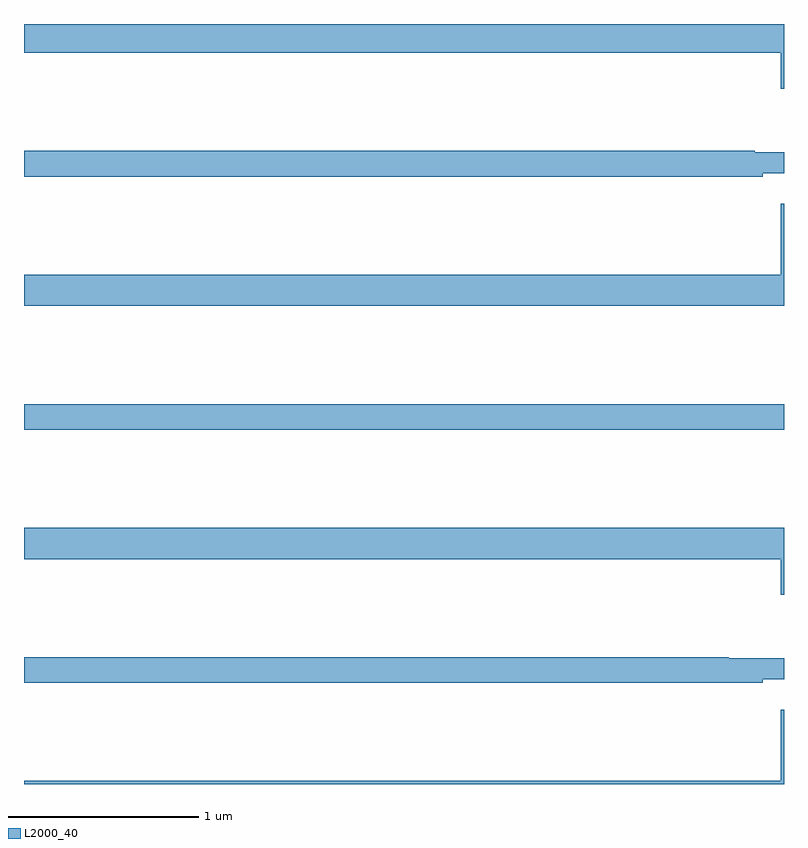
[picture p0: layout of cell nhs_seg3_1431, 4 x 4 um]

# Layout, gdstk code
import gdstk
lib = gdstk.Library(unit=1e-6, precision=1e-09)
def R(c, l, rs):  # rectangles x0, y0, x1, y1
    for r in rs: c.add(gdstk.rectangle(r[:2], r[2:], *l))
def P(c, l, *ps):  # polygons
    for p in ps: c.add(gdstk.Polygon(p, *l))
L2000_40 = (2000, 40)

nhs_seg3_1431 = lib.new_cell('nhs_seg3_1431')
R(nhs_seg3_1431, L2000_40, [(185,700.264,189,700.4)])
P(nhs_seg3_1431, L2000_40, [(185,702.248),(188.984,702.248),(188.984,702.06),(189,702.06),(189,702.4),(185,702.4)],
  [(188.888,701.615),(189,701.615),(189,701.725),(188.845,701.725),(188.845,701.732),(185,701.732),(185,701.596),(188.888,701.596)],
  [(189,701.455),(188.984,701.455),(188.984,701.08),(185,701.08),(185,700.916),(189,700.916)],
  [(189,699.748),(185,699.748),(185,699.584),(188.984,699.584),(188.984,699.396),(189,699.396)],
  [(188.888,698.951),(189,698.951),(189,699.061),(188.708,699.061),(188.708,699.068),(185,699.068),(185,698.932),(188.888,698.932)],
  [(189,698.791),(188.984,698.791),(188.984,698.416),(185,698.416),(185,698.4),(189,698.4)])

lib.write_gds('nhs_seg3_1431.gds')
